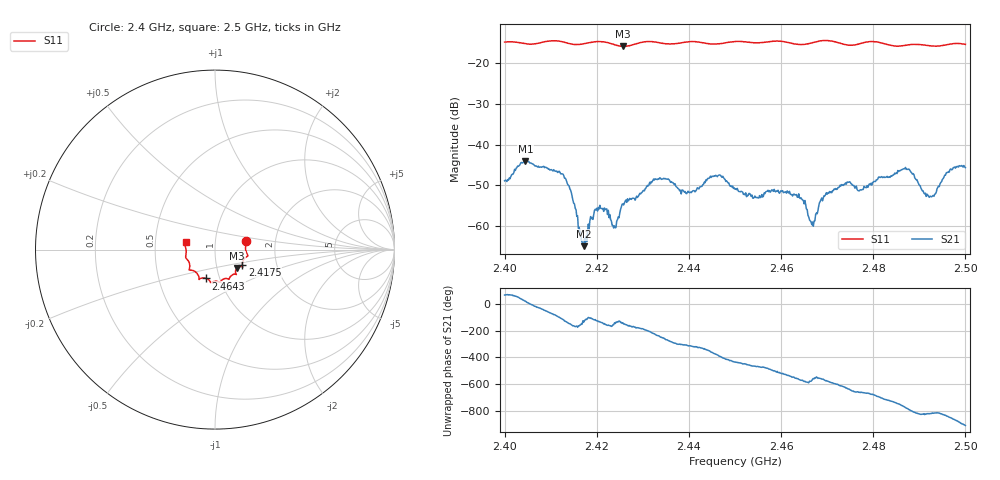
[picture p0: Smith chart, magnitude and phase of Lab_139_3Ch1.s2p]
# Hz S RI R 50
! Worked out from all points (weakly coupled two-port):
!   601 points, 2.4 GHz to 2.5 GHz, reference 50 ohm
!   highest |S21| = -44.01 dB at 2.4045 GHz (marker M1); lowest = -64.9 dB at 2.4172 GHz (marker M2)
!   lowest |S11| = -15.9 dB at 2.4257 GHz (marker M3), VSWR 1.38, Z = 62.5 - j13.1 ohm
!   |S11| at or under -10 dB: start of sweep to end of sweep
!   S12 and S22 are empty: the file has one direction only
!   S11 on the Smith chart (normalised r, x): 2.4 GHz: 1.41, +0.14; 2.4175 GHz: 1.34, -0.23; 2.4643 GHz: 0.86, -0.28; 2.5 GHz: 0.72, +0.06
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2.4e9  0.1735 0.0491  0.00127 0.00336  0 0  0 0
2.4045e9  0.171 0.0204  0.00579 0.00249  0 0  0 0
2.412833e9  0.1758 -0.0398  -0.00199 -0.00366  0 0  0 0
2.414667e9  0.1618 -0.0516  -0.00213 -0.000812  0 0  0 0
2.416667e9  0.1529 -0.074  -0.000565 -0.000378  0 0  0 0
2.417167e9  0.1522 -0.08  -0.000404 -0.0004  0 0  0 0
2.4175e9  0.1518 -0.0838  -0.000293 -0.000563  0 0  0 0
2.420167e9  0.1545 -0.0981  -0.000876 -0.00126  0 0  0 0
2.423833e9  0.1389 -0.0942  -0.000782 -0.000639  0 0  0 0
2.425667e9  0.1229 -0.1018  -0.00145 -0.00119  0 0  0 0
2.433333e9  0.1138 -0.137  -0.00204 0.00321  0 0  0 0
2.439833e9  0.0793 -0.1636  0.00179 0.002  0 0  0 0
2.446833e9  0.0413 -0.1675  0.00346 -0.00239  0 0  0 0
2.45e9  0.029 -0.1813  0.000787 -0.00273  0 0  0 0
2.464333e9  -0.0497 -0.1606  -0.00187 0.0012  0 0  0 0
2.466667e9  -0.0762 -0.1589  -0.000874 0.000575  0 0  0 0
2.470167e9  -0.0885 -0.1659  -0.00199 0.00161  0 0  0 0
2.483333e9  -0.1405 -0.0897  0.00397 -0.000129  0 0  0 0
2.4875e9  -0.1579 -0.0521  0.00201 -0.00453  0 0  0 0
2.492667e9  -0.1606 -0.0182  -0.000474 -0.00224  0 0  0 0
2.496333e9  -0.1674 0.0231  -0.00284 -0.00371  0 0  0 0
2.5e9  -0.1637 0.0426  -0.0051 0.00109  0 0  0 0
